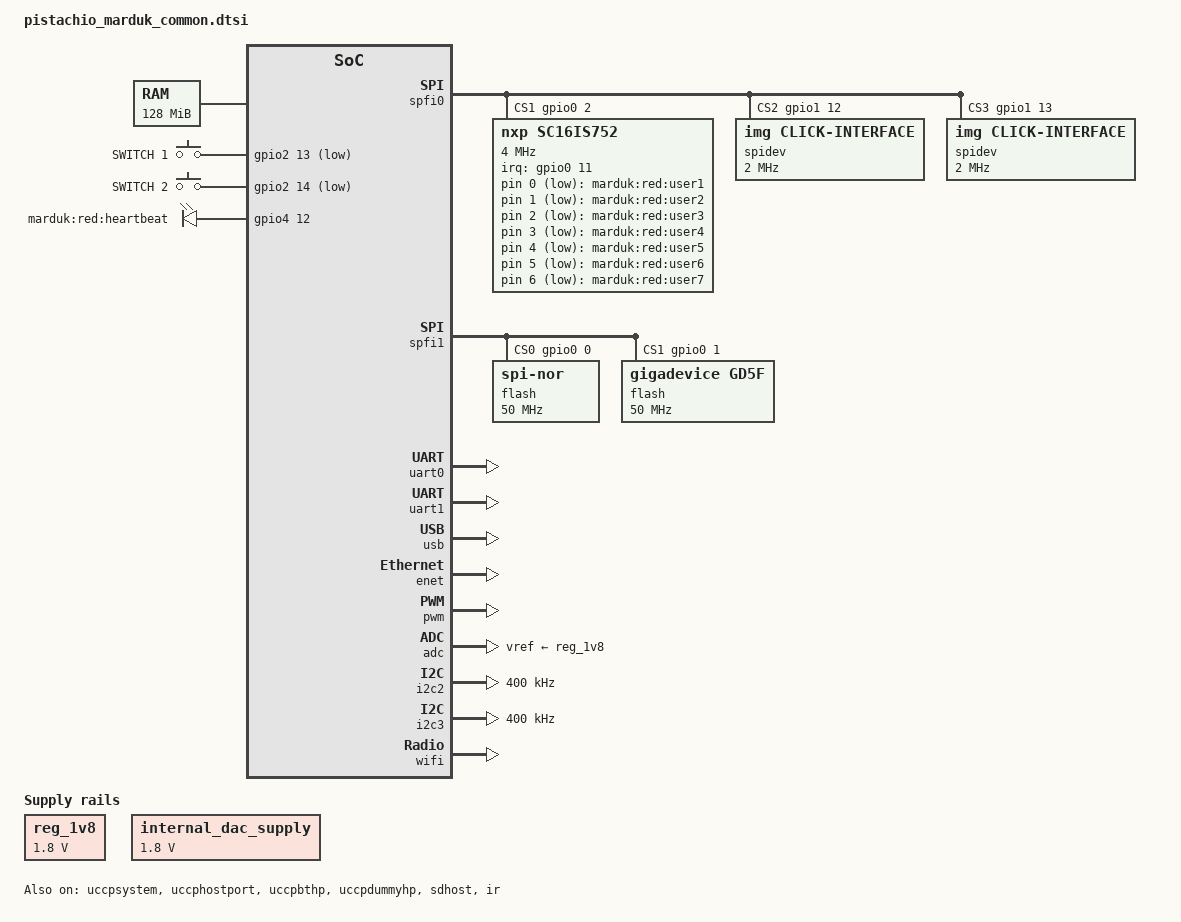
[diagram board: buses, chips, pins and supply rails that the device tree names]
/*
 * Copyright (C) 2015 Imagination Technologies Ltd.
 * Copyright (C) 2015 Google, Inc.
 * This program is free software; you can redistribute it and/or modify
 * it under the terms of the GNU General Public License version 2 as
 * published by the Free Software Foundation.
 */

#include "pistachio.dtsi"
#include <dt-bindings/sound/pistachio-audio.h>
#include "pistachio_board_uboot.dtsi"

/ {
	compatible = "img,pistachio-marduk", "img,pistachio";

	aliases {
		serial0 = &uart0;
		serial1 = &uart1;
		ethernet0 = &enet;
		spi0 = &spfi0;
		spi1 = &spfi1;
	};

	chosen {
		bootargs = "console=ttyS1,115200n8 earlycon=uart8250,mmio32,0x18101500,115200 root=/dev/sda1 rootwait ro";
	};

	memory {
		device_type = "memory";
		reg =  <0x00000000 0x08000000>;
	};

	reg_1v8: fixed-regulator {
		compatible = "regulator-fixed";
		regulator-name = "aux_adc_vref";
		regulator-min-microvolt = <1800000>;
		regulator-max-microvolt = <1800000>;
		regulator-boot-on;
	};

	internal_dac_supply: internal_dac_supply {
		compatible = "regulator-fixed";
		regulator-name = "internal_dac_supply";
		regulator-min-microvolt = <1800000>;
		regulator-max-microvolt = <1800000>;
	};

	pistachio_audio_card {
		compatible = "img,pistachio-audio";

		clocks = <&clk_core CLK_AUDIO_PLL>,
			 <&clk_core CLK_I2S>,
			 <&clk_core CLK_AUDIO>;
		clock-names = "audio_pll", "i2s_mclk", "dac_clk";

		img,cr-periph = <&cr_periph>;
		img,event-timer = <&event_timer>;

		pinctrl-names = "default";
		pinctrl-0 = <&i2s_mclk_pin>;

		spdif-out {
			cpu-dai = <&spdif_out>;
		};

		spdif-in {
			cpu-dai = <&spdif_in>;
		};

		parallel-out {
			cpu-dai = <&parallel_out>;
			sound-dai = <&internal_dac>;
		};

		i2s-out {
			cpu-dai = <&i2s_out>;
			format = "i2s";
		};

		i2s-in {
			cpu-dai = <&i2s_in>;
			format = "i2s";

			ak5720vt {
				mclk = <PISTACHIO_MCLK_I2S>;
				mclk-fs = <256>;
				mclk-min-freq = <8192000>;
				mclk-max-freq = <24576000>;
			};
		};
	};

	gpio_keys {
		compatible = "gpio-keys";
		switch1: switch@1 {
			label = "SWITCH 1";
			linux,code = <0x101>; /* BTN_1 */
			gpios = <&gpio2 13 GPIO_ACTIVE_LOW>;
		};
		switch@2 {
			label = "SWITCH 2";
			linux,code = <0x102>; /* BTN_2 */
			gpios = <&gpio2 14 GPIO_ACTIVE_LOW>;
		};
	};

	gpio_leds {
		compatible = "gpio-leds";
		user1 {
			label = "marduk:red:user1";
			gpios = <&sc16is752 0 GPIO_ACTIVE_LOW>;
		};
		user2 {
			label = "marduk:red:user2";
			gpios = <&sc16is752 1 GPIO_ACTIVE_LOW>;
		};
		user3 {
			label = "marduk:red:user3";
			gpios = <&sc16is752 2 GPIO_ACTIVE_LOW>;
		};
		user4 {
			label = "marduk:red:user4";
			gpios = <&sc16is752 3 GPIO_ACTIVE_LOW>;
		};
		user5 {
			label = "marduk:red:user5";
			gpios = <&sc16is752 4 GPIO_ACTIVE_LOW>;
		};
		user6 {
			label = "marduk:red:user6";
			gpios = <&sc16is752 5 GPIO_ACTIVE_LOW>;
		};
		user7 {
			label = "marduk:red:user7";
			gpios = <&sc16is752 6 GPIO_ACTIVE_LOW>;
		};
		heartbeat {
			label = "marduk:red:heartbeat";
			gpios = <&gpio4 12 GPIO_ACTIVE_HIGH>;
			linux,default-trigger = "timer";
		};
	};
};

&internal_dac {
	VDD-supply = <&internal_dac_supply>;
};

&spim0_clk {
	drive-strength = <2>;
};

&spfi0 {
	status = "okay";
	pinctrl-0 = <&spim0_pins>;
	pinctrl-names = "default";

	cs-gpios = <&gpio1 14 GPIO_ACTIVE_HIGH>, <&gpio0 2 GPIO_ACTIVE_HIGH>,
			<&gpio1 12 GPIO_ACTIVE_HIGH>, <&gpio1 13 GPIO_ACTIVE_HIGH>;

	sc16is752: sc16is752@1 {
		compatible = "nxp,sc16is752";
		reg = <1>;
		spi-max-frequency = <4000000>;
		interrupt-parent = <&gpio0>;
		interrupts = <11 IRQ_TYPE_EDGE_FALLING>;
		gpio-controller;
		#gpio-cells = <2>;
	};

	spidev@2 {
		compatible = "img,click-interface";
		reg = <2>;
		spi-max-frequency = <2000000>;
	};

	spidev@3 {
		compatible = "img,click-interface";
		reg = <3>;
		spi-max-frequency = <2000000>;
	};
};

&spfi1 {
	status = "okay";

	pinctrl-0 = <&spim1_pins>, <&spim1_quad_pins>;
	pinctrl-names = "default";
	cs-gpios = <&gpio0 0 GPIO_ACTIVE_HIGH>, <&gpio0 1 GPIO_ACTIVE_HIGH>;

	flash@0 {
		compatible = "jedec,spi-nor";
		reg = <0>;
		spi-max-frequency = <50000000>;
		linux,mtd-name = "spi-nor";
	};

	flash@1 {
		compatible = "gigadevice,gd5f";
		reg = <1>;
		spi-max-frequency = <50000000>;
		nand-on-flash-bbt;
		spi-rx-bus-width = <2>;
		spi-tx-bus-width = <4>;
		#address-cells = <1>;
		#size-cells = <1>;
		linux,mtd-name = "spi-nand";
	};
};

&uccpsystem {
	status = "okay";
};

&uccphostport {
	status = "okay";
};

&uccpbthp {
	status = "okay";
};

&uccpdummyhp {
	status = "okay";
};

&uart0 {
	status = "okay";
	assigned-clock-rates = <114278400>, <1843200>;
};

&uart1 {
	status = "okay";
};

&usb {
	status = "okay";
};

&usb_phy {
	pinctrl-names = "default";
	pinctrl-0 = <&usb_pwr_on_pins>;
	enable-vbus-drive;
};

&enet {
	status = "okay";

	mac-address = [0123456789AB];
};

&pin_enet_phy_clk {
	drive-strength = <2>;
};

&sdhost {
	status = "okay";
	bus-width = <4>;
	disable-wp;
};

&ir {
	status = "okay";
};

&pwm {
	status = "okay";

	pinctrl-0 = <&pwmpdm0_pin>, <&pwmpdm1_pin>, <&pwmpdm2_pin>,
		    <&pwmpdm3_pin>;
	pinctrl-names = "default";
};

&adc {
	status = "okay";
	vref-supply = <&reg_1v8>;
	adc-reserved-channels = <0x10>;
};

&i2c2 {
	status = "okay";
	clock-frequency = <400000>;
};

&i2c3 {
	status = "okay";
	clock-frequency = <400000>;
};

&wifi {
       status = "okay";
       rf-params = [101F24292E33383C4045484D5157595D6164676B6E71292D3135393c41454a4d50535557595B5D5F6265682A3136393D4043474A4D5154575A5D606366686B6F24282C3134373C4144484D52555A5E62666A6F747923282C31363A3E4245494E51575B5F63666B71767A22262A3035393C4044474A4D5155595C5F62666a72292D33373A3E4246494C4F5356595C6064686D7277282B3136393D4044474B5155585B5D606467696c72292D3034383B3F43474A4E5155595D6165696D7274252A2F33383C4043474C4F53585E6165696D73787C121212121212121212121212111010101010101010101010100F121212121212110F0D0A0A1010101010100F0D0B08080F0F0F0F0F0F0E0C0A0707121212121212110F0D0A0A1010101010100F0D0B08080F0F0F0F0F0F0E0C0A0707121212121212110F0D0A0A1010101010100F0D0B08080F0F0F0F0F0F0E0C0A0707121212121212110F0D0A0A1010101010100F0D0B08080F0F0F0F0F0F0E0C0A0707];
       num_streams = [02];
};


&i2s_out {
	status = "okay";
	pinctrl-names = "default";
	pinctrl-0 = <&i2s_out_pins>;
};

&i2s_in {
	status = "okay";
	pinctrl-names = "default";
	pinctrl-0 = <&i2s_in_pins>;
};

&i2s_out_pins {
	i2s-out {
		pins = "mfio37", "mfio38", "mfio39",
		       "mfio40", "mfio41";
		function = "i2s_out";
	};
};

&i2s_in_pins {
	i2s-in {
		pins = "mfio47", "mfio48", "mfio49",
		       "mfio50", "mfio51";
		function = "i2s_in";
	};
};

&spdif_out {
	status = "okay";
};

&spdif_in {
	status = "okay";
};

&parallel_out {
	status = "okay";
};
